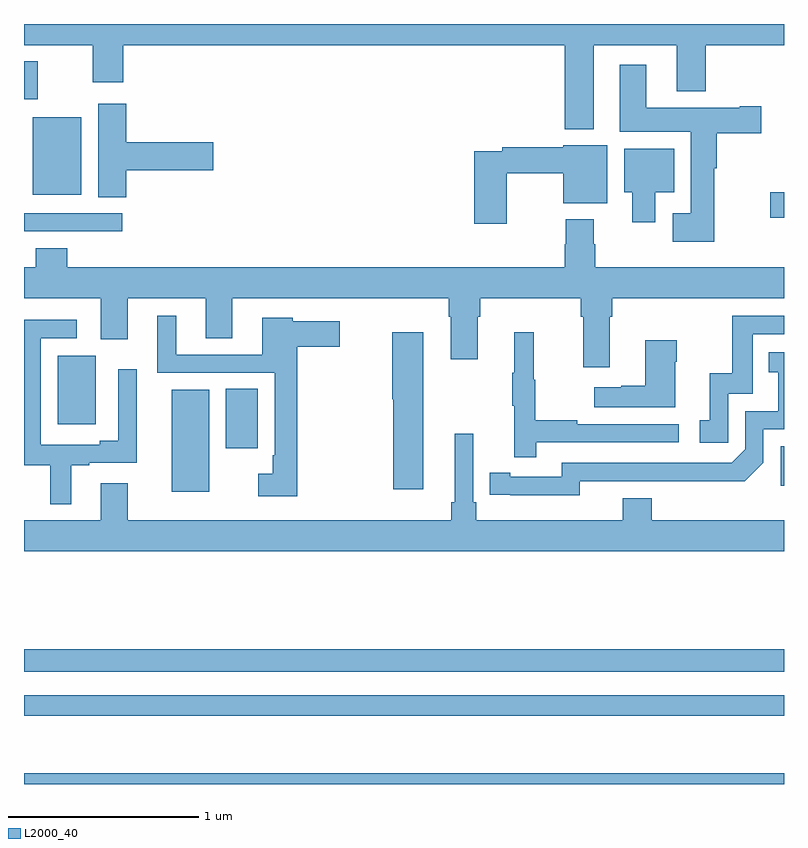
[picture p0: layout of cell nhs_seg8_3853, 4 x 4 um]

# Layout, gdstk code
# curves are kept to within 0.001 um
import gdstk
lib = gdstk.Library(unit=1e-6, precision=1e-09)
def R(c, l, rs):  # rectangles x0, y0, x1, y1
    for r in rs: c.add(gdstk.rectangle(r[:2], r[2:], *l))
def P(c, l, *ps):  # polygons
    for p in ps: c.add(gdstk.Polygon(p, *l))
L2000_40 = (2000, 40)

nhs_seg8_3853 = lib.new_cell('nhs_seg8_3853')
R(nhs_seg8_3853, L2000_40, [(347,1157.9,351,1157.956), (347,1158.258,351,1158.366), (347,1158.492,351,1158.608), (347.777,1159.439,347.974,1159.975), (350.982,1159.47,351,1159.677), (348.062,1159.668,348.229,1159.979), (347.177,1159.793,347.377,1160.155), (347,1160.808,347.518,1160.904), (350.928,1160.879,351,1161.014), (347.045,1161.002,347.302,1161.409), (347,1161.504,347.073,1161.703)])
P(nhs_seg8_3853, L2000_40, [(349.999,1161.788),(350.435,1161.788),(350.435,1161.545),(350.588,1161.545),(350.588,1161.788),(351,1161.788),(351,1161.9),(347,1161.9),(347,1161.788),(347.362,1161.788),(347.362,1161.594),(347.522,1161.594),(347.522,1161.788),(349.847,1161.788),(349.847,1161.347),(349.999,1161.347)],
  [(350.632,1161.142),(350.645,1161.142),(350.645,1161.326),(350.881,1161.326),(350.881,1161.468),(350.768,1161.468),(350.768,1161.46),(350.275,1161.46),(350.275,1161.685),(350.135,1161.685),(350.135,1161.332),(350.51,1161.332),(350.51,1160.905),(350.415,1160.905),(350.415,1160.753),(350.632,1160.753)],
  [(347.537,1161.131),(347.995,1161.131),(347.995,1161.278),(347.537,1161.278),(347.537,1161.481),(347.39,1161.481),(347.39,1160.989),(347.537,1160.989)],
  [(349.54,1161.115),(349.838,1161.115),(349.838,1160.957),(350.071,1160.957),(350.071,1161.262),(349.838,1161.262),(349.838,1161.251),(349.516,1161.251),(349.516,1161.231),(349.37,1161.231),(349.37,1160.85),(349.54,1160.85)],
  [(350.323,1161.014),(350.422,1161.014),(350.422,1161.244),(350.159,1161.244),(350.159,1161.014),(350.201,1161.014),(350.201,1160.856),(350.323,1160.856)],
  [(350.083,1160.36),(350.096,1160.36),(350.096,1160.456),(351,1160.456),(351,1160.62),(350.007,1160.62),(350.007,1160.741),(349.999,1160.741),(349.999,1160.872),(349.852,1160.872),(349.852,1160.741),(349.847,1160.741),(349.847,1160.62),(347.228,1160.62),(347.228,1160.719),(347.063,1160.719),(347.063,1160.62),(347,1160.62),(347,1160.456),(347.405,1160.456),(347.405,1160.241),(347.545,1160.241),(347.545,1160.456),(347.957,1160.456),(347.957,1160.245),(348.097,1160.245),(348.097,1160.456),(349.235,1160.456),(349.235,1160.36),(349.247,1160.36),(349.247,1160.136),(349.387,1160.136),(349.387,1160.36),(349.4,1160.36),(349.4,1160.456),(349.931,1160.456),(349.931,1160.36),(349.943,1160.36),(349.943,1160.094),(350.083,1160.094)],
  [(348.437,1160.201),(348.661,1160.201),(348.661,1160.335),(348.414,1160.335),(348.414,1160.353),(348.254,1160.353),(348.254,1160.16),(347.8,1160.16),(347.8,1160.365),(347.702,1160.365),(347.702,1160.064),(348.321,1160.064),(348.321,1159.63),(348.309,1159.63),(348.309,1159.534),(348.234,1159.534),(348.234,1159.415),(348.437,1159.415)],
  [(350.706,1159.953),(350.835,1159.953),(350.835,1160.268),(351,1160.268),(351,1160.364),(350.727,1160.364),(350.727,1160.062),(350.609,1160.062),(350.609,1159.815),(350.556,1159.815),(350.556,1159.695),(350.706,1159.695)],
  [(347.248,1159.578),(347.344,1159.578),(347.344,1159.59),(347.594,1159.59),(347.594,1160.083),(347.496,1160.083),(347.496,1159.706),(347.399,1159.706),(347.399,1159.686),(347.088,1159.686),(347.088,1160.247),(347.278,1160.247),(347.278,1160.343),(347,1160.343),(347,1159.578),(347.139,1159.578),(347.139,1159.373),(347.248,1159.373)],
  [(349.697,1159.698),(350.446,1159.698),(350.446,1159.794),(349.913,1159.794),(349.913,1159.814),(349.69,1159.814),(349.69,1160.028),(349.682,1160.028),(349.682,1160.278),(349.58,1160.278),(349.58,1160.065),(349.569,1160.065),(349.569,1159.891),(349.58,1159.891),(349.58,1159.62),(349.697,1159.62)],
  [(349.102,1160.278),(348.938,1160.278),(348.938,1159.926),(348.944,1159.926),(348.944,1159.452),(349.102,1159.452)],
  [(350.428,1160.123),(350.436,1160.123),(350.436,1160.236),(350.27,1160.236),(350.27,1159.997),(350.144,1159.997),(350.144,1159.987),(350.001,1159.987),(350.001,1159.883),(350.428,1159.883)],
  [(349.926,1159.494),(350.794,1159.493),(350.892,1159.59),(350.892,1159.767),(351,1159.767),(351,1160.173),(350.92,1160.173),(350.92,1160.067),(350.969,1160.067),(350.969,1159.863),(350.796,1159.863),(350.796,1159.662),(350.724,1159.59),(349.83,1159.59),(349.83,1159.518),(349.558,1159.518),(349.558,1159.538),(349.45,1159.538),(349.45,1159.422),(349.926,1159.421)],
  [(351,1159.288),(350.303,1159.288),(350.303,1159.405),(350.15,1159.405),(350.15,1159.288),(349.379,1159.288),(349.379,1159.384),(349.365,1159.384),(349.365,1159.744),(349.268,1159.744),(349.268,1159.384),(349.249,1159.384),(349.249,1159.288),(347.545,1159.288),(347.545,1159.483),(347.405,1159.483),(347.405,1159.288),(347,1159.288),(347,1159.124),(351,1159.124)])

lib.write_gds('nhs_seg8_3853.gds')
